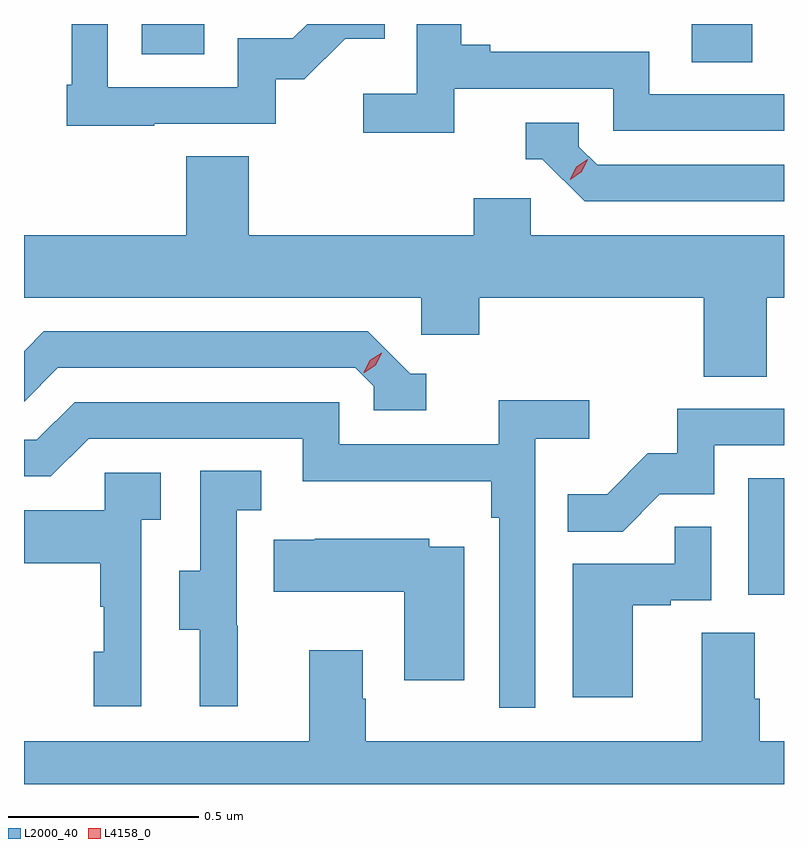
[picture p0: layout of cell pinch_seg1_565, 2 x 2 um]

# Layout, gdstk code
import gdstk
lib = gdstk.Library(unit=1e-6, precision=1e-09)
def R(c, l, rs):  # rectangles x0, y0, x1, y1
    for r in rs: c.add(gdstk.rectangle(r[:2], r[2:], *l))
def P(c, l, *ps):  # polygons
    for p in ps: c.add(gdstk.Polygon(p, *l))
L2000_40 = (2000, 40)
L4158_0 = (4158, 0)

pinch_seg1_565 = lib.new_cell('pinch_seg1_565')
R(pinch_seg1_565, L2000_40, [(1047.59,534.966,1047.684,535.273), (1047.441,536.368,1047.6,536.468), (1045.994,536.388,1046.158,536.468)])
P(pinch_seg1_565, L2000_40, [(1046.816,536.298),(1047.234,536.298),(1047.234,536.187),(1047.684,536.187),(1047.684,536.283),(1047.33,536.283),(1047.33,536.395),(1046.911,536.395),(1046.911,536.414),(1046.834,536.414),(1046.834,536.468),(1046.718,536.468),(1046.718,536.284),(1046.577,536.284),(1046.577,536.182),(1046.816,536.182)],
  [(1046.027,536.205),(1046.346,536.205),(1046.346,536.322),(1046.422,536.322),(1046.529,536.429),(1046.633,536.429),(1046.633,536.468),(1046.429,536.468),(1046.391,536.43),(1046.247,536.43),(1046.247,536.301),(1045.905,536.301),(1045.905,536.468),(1045.809,536.468),(1045.809,536.308),(1045.797,536.308),(1045.797,536.2),(1046.027,536.2)],
  [(1047.684,536.097),(1047.192,536.097),(1047.144,536.145),(1047.144,536.208),(1047.005,536.208),(1047.005,536.112),(1047.048,536.112),(1047.159,536.001),(1047.684,536.001)],
  [(1047.638,535.748),(1047.684,535.748),(1047.684,535.912),(1047.018,535.912),(1047.018,536.01),(1046.867,536.01),(1046.867,535.912),(1046.276,535.912),(1046.276,536.12),(1046.111,536.12),(1046.111,535.912),(1045.684,535.912),(1045.684,535.748),(1046.73,535.748),(1046.73,535.65),(1046.882,535.65),(1046.882,535.748),(1047.473,535.748),(1047.473,535.54),(1047.638,535.54)],
  [(1046.743,535.548),(1046.7,535.548),(1046.589,535.659),(1045.736,535.659),(1045.684,535.607),(1045.684,535.474),(1045.773,535.563),(1046.556,535.563),(1046.604,535.515),(1046.604,535.452),(1046.743,535.452)],
  [(1047.03,535.376),(1047.172,535.376),(1047.172,535.478),(1046.933,535.478),(1046.933,535.362),(1046.514,535.362),(1046.514,535.473),(1045.817,535.473),(1045.718,535.374),(1045.684,535.374),(1045.684,535.278),(1045.755,535.278),(1045.854,535.377),(1046.418,535.377),(1046.418,535.265),(1046.914,535.265),(1046.914,535.169),(1046.934,535.169),(1046.934,534.669),(1047.03,534.669)],
  [(1047.357,535.23),(1047.501,535.23),(1047.501,535.359),(1047.684,535.359),(1047.684,535.455),(1047.403,535.455),(1047.403,535.338),(1047.326,535.338),(1047.219,535.231),(1047.115,535.231),(1047.115,535.132),(1047.259,535.132)],
  [(1046.246,534.885),(1046.244,534.885),(1046.244,535.189),(1046.308,535.189),(1046.308,535.292),(1046.148,535.292),(1046.148,535.029),(1046.093,535.029),(1046.093,534.874),(1046.147,534.874),(1046.147,534.672),(1046.246,534.672)],
  [(1045.992,535.163),(1046.044,535.163),(1046.044,535.287),(1045.896,535.287),(1045.896,535.189),(1045.684,535.189),(1045.684,535.049),(1045.884,535.049),(1045.884,534.935),(1045.894,534.935),(1045.894,534.816),(1045.868,534.816),(1045.868,534.672),(1045.992,534.672)],
  [(1047.286,534.939),(1047.386,534.939),(1047.386,534.951),(1047.492,534.951),(1047.492,535.145),(1047.397,535.145),(1047.397,535.047),(1047.128,535.047),(1047.128,534.696),(1047.286,534.696)],
  [(1046.842,535.093),(1046.751,535.093),(1046.751,535.114),(1046.449,535.114),(1046.449,535.111),(1046.341,535.111),(1046.341,534.974),(1046.684,534.974),(1046.684,534.741),(1046.842,534.741)],
  [(1047.607,534.692),(1047.607,534.866),(1047.467,534.866),(1047.467,534.58),(1046.583,534.58),(1046.583,534.692),(1046.575,534.692),(1046.575,534.82),(1046.435,534.82),(1046.435,534.58),(1045.684,534.58),(1045.684,534.468),(1047.684,534.468),(1047.684,534.58),(1047.62,534.58),(1047.62,534.692)])
P(pinch_seg1_565, L4158_0, [(1047.121,536.058),(1047.121,536.059),(1047.137,536.092),(1047.167,536.112),(1047.167,536.112),(1047.167,536.112),(1047.152,536.079),(1047.122,536.058)],
  [(1046.578,535.55),(1046.578,535.55),(1046.594,535.583),(1046.625,535.603),(1046.625,535.603),(1046.625,535.603),(1046.609,535.57),(1046.579,535.55)])

lib.write_gds('pinch_seg1_565.gds')
